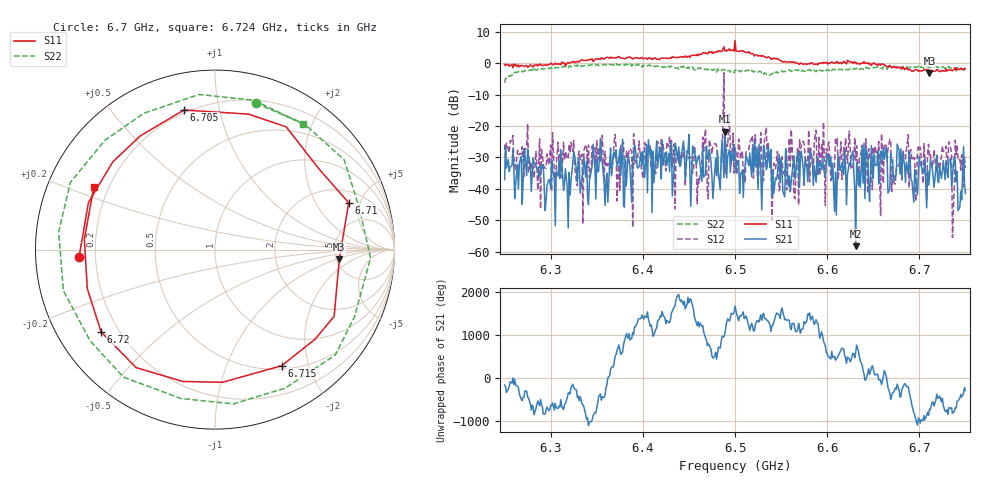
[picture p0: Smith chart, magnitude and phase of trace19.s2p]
# Hz S RI R 50
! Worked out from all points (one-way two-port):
!   401 points, 6.25 GHz to 6.75 GHz, reference 50 ohm
!   highest |S21| = -21.80 dB at 6.489 GHz (marker M1); lowest = -58.3 dB at 6.631 GHz (marker M2)
!   lowest |S11| = -3.2 dB at 6.711 GHz (marker M3), VSWR 5.55, Z = 265 - j56.2 ohm
!   |S11| at or under -10 dB: nowhere
!   |S22| runs from -6.2 to -0.1 dB; largest |S21 - S12| = 0.7
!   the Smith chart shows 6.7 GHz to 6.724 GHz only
!   S11 on the Smith chart (normalised r, x): 6.7 GHz: 0.14, -0.03; 6.705 GHz: 0.18, +0.79; 6.71 GHz: 2.83, +3.92; 6.715 GHz: 0.55, -1.59; 6.72 GHz: 0.13, -0.32; 6.724 GHz: 0.14, +0.24
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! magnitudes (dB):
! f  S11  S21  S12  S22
! 6.25 GHz  -0.5  -37.1  -25.9  -6.2
! 6.334 GHz  1.1  -36.7  -29.0  -1.1
! 6.418 GHz  1.1  -27.1  -26.9  -0.9
! 6.461 GHz  2.9  -29.5  -38.2  -1.6
! 6.466 GHz  3.3  -36.3  -28.1  -2.0
! 6.489 GHz  3.9  -21.8  -33.7  -2.2
! 6.5 GHz  7.2  -28.8  -27.0  -2.2
! 6.56 GHz  0.5  -41.0  -32.8  -2.4
! 6.566 GHz  0.1  -34.8  -34.4  -2.1
! 6.584 GHz  0.1  -30.9  -32.4  -2.4
! 6.608 GHz  -0.1  -47.2  -33.3  -2.1
! 6.626 GHz  0.4  -29.9  -33.8  -1.8
! 6.631 GHz  0.3  -58.3  -31.0  -1.8
! 6.668 GHz  -0.7  -40.1  -24.2  -1.1
! 6.7 GHz  -2.4  -29.7  -27.7  -1.5
! 6.705 GHz  -2.0  -34.9  -25.6  -1.2
! 6.71 GHz  -2.1  -38.8  -25.8  -1.3
! 6.711 GHz  -3.2  -36.6  -29.8  -1.4
! 6.715 GHz  -2.5  -36.1  -31.3  -1.2
! 6.72 GHz  -2.1  -37.5  -32.9  -1.3
! 6.724 GHz  -2.4  -36.7  -29.6  -1.4
! 6.75 GHz  -1.8  -41.5  -33.4  -2.1
